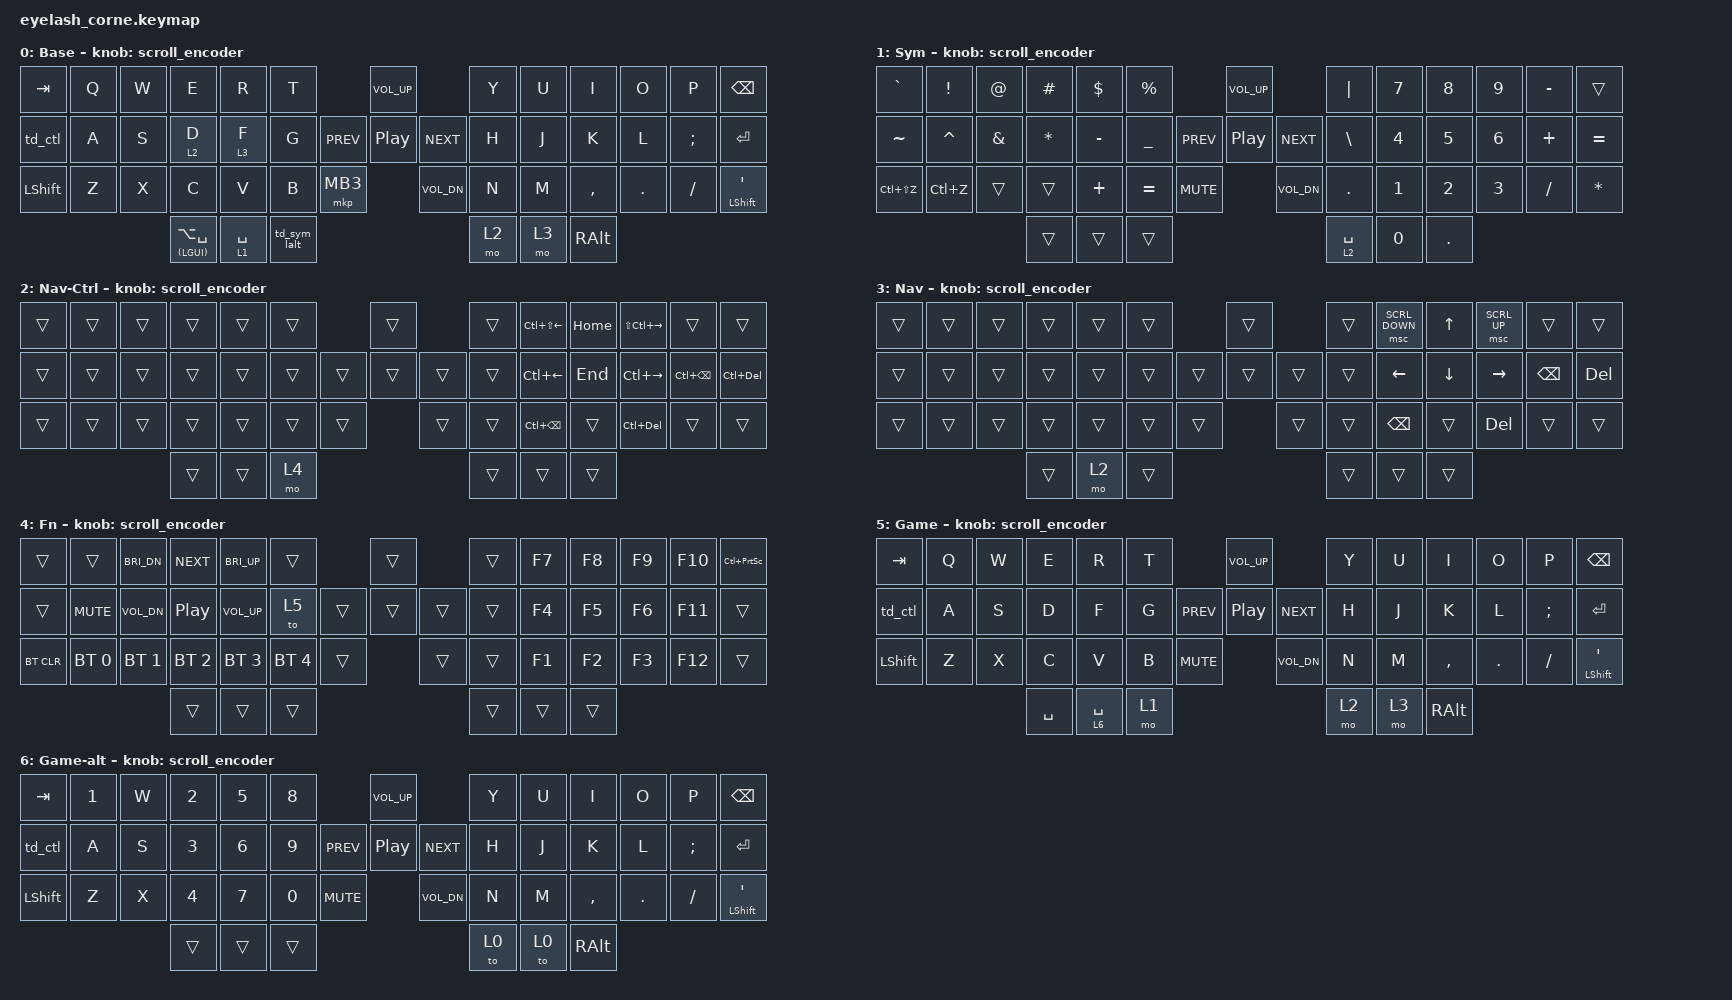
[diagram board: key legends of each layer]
#define ZMK_POINTING_DEFAULT_MOVE_VAL 1200  // 600
#define ZMK_POINTING_DEFAULT_SCRL_VAL 50   // 10

#include <input/processors.dtsi>
#include <zephyr/dt-bindings/input/input-event-codes.h>
#include <behaviors.dtsi>
#include <dt-bindings/zmk/bt.h>
#include <dt-bindings/zmk/keys.h>
#include <dt-bindings/zmk/pointing.h>
#include <dt-bindings/zmk/rgb.h>

// Macros
// #define MO_TOG(layer) &mo_tog layer layer // macro to trigger mo-tog on the same layer
// Global params

&mmv_input_listener { input-processors = <&zip_xy_scaler 2 1>; };

&msc_input_listener { input-processors = <&zip_scroll_scaler 2 1>; };

&msc {
    acceleration-exponent = <1>;      // 0
    time-to-max-speed-ms = <100>;       // 300
    delay-ms = <0>;                   // 0
};

&mmv {
    time-to-max-speed-ms = <500>;
    acceleration-exponent = <1>;
    trigger-period-ms = <16>;
};

&soft_off { hold-time-ms = <2000>; };

/ {
    // ---------- Hardware config ----------

    rgb_encoder: rgb_encoder {
        compatible = "zmk,behavior-sensor-rotate";
        #sensor-binding-cells = <0>;
        bindings = <&rgb_ug RGB_BRI>, <&rgb_ug RGB_BRD>;
    };

    scroll_encoder: scroll_encoder {
        compatible = "zmk,behavior-sensor-rotate";
        #sensor-binding-cells = <0>;
        bindings = <&msc SCRL_DOWN>, <&msc SCRL_UP>;

        /* tap-ms = <100>; */
    };

    scroll_encoder_lr: scroll_encoder_lr {
        compatible = "zmk,behavior-sensor-rotate";
        #sensor-binding-cells = <0>;
        bindings = <&msc SCRL_LEFT>, <&msc SCRL_RIGHT>;
    };

    combos {
        compatible = "zmk,combos";

        softoff {
            bindings = <&soft_off>;
            key-positions = <1 15 29>;
        };

        esc_jk {
            bindings = <&kp ESC>;
            key-positions = <23 24>;
            layers = <0>;
            timeout-ms = <200>;
        };

        win_close {
            bindings = <&kp LA(F4)>;
            key-positions = <2 42>;
            layers = <0>;
            timeout-ms = <200>;
        };

        // symbols

        lbkt {
            bindings = <&kp LBKT>;
            key-positions = <4 3>;
            layers = <1>;
            timeout-ms = <200>;
        };

        rbkt {
            bindings = <&kp RBKT>;
            key-positions = <8 9>;
            layers = <1>;
            timeout-ms = <200>;
        };

        lpar {
            bindings = <&kp LPAR>;
            key-positions = <17 16>;
            layers = <1>;
            timeout-ms = <200>;
        };

        rpar {
            bindings = <&kp RPAR>;
            key-positions = <23 24>;
            layers = <1>;
            timeout-ms = <200>;
        };

        lbrc {
            bindings = <&kp LBRC>;
            key-positions = <32 31>;
            layers = <1>;
            timeout-ms = <200>;
        };

        rbrc {
            bindings = <&kp RBRC>;
            key-positions = <37 38>;
            layers = <1>;
            timeout-ms = <200>;
        };

        backslash {
            bindings = <&kp BACKSLASH>;
            key-positions = <39 40>;
            layers = <1>;
            timeout-ms = <200>;
        };

        pipe {
            bindings = <&kp PIPE>;
            key-positions = <40 41>;
            layers = <1>;
            timeout-ms = <200>;
        };
    };

    // --------- Behaviors ---------

    behaviors {
        mo_tog: behavior_mo_tog {
            compatible = "zmk,behavior-hold-tap";
            display-name = "layer mo-tog";
            #binding-cells = <2>;
            flavor = "hold-preferred";
            tapping-term-ms = <200>;
            bindings = <&mo>, <&tog>;
        };

        td_ctl: td_ctl {
            compatible = "zmk,behavior-tap-dance";
            display-name = "CTRL/ESC tap dance";
            #binding-cells = <0>;
            bindings = <&kp LCTRL>, <&kp ESC>;
        };

        scroll: scroll {
            compatible = "zmk,behavior-sensor-rotate";
            label = "Vertical scroll";
            #sensor-binding-cells = <0>;
            bindings = <&msc SCRL_UP>, <&msc SCRL_DOWN>;
        };

        scroll_lr: scroll_lr {
            compatible = "zmk,behavior-sensor-rotate";
            label = "Horizontal scroll";
            #sensor-binding-cells = <0>;
            bindings = <&msc SCRL_RIGHT>, <&msc SCRL_LEFT>;
        };

        td_sym_lalt: td_sym_lalt {
            compatible = "zmk,behavior-tap-dance";
            label = "Tap dance layer 1 and LALT";
            #binding-cells = <0>;
            bindings = <&mo 4>, <&kp LALT>;
        };
    };

    // ---------- Keymap ----------

    keymap {
        compatible = "zmk,keymap";

        default_layer {
            display-name = "Base";
            bindings = <
&kp TAB    &kp Q  &kp W  &kp E                 &kp R        &kp T                                 &kp C_VOL_UP                  &kp Y  &kp U  &kp I      &kp O    &kp P     &kp BSPC
&td_ctl    &kp A  &kp S  &lt 2 D               &lt 3 F      &kp G                     &kp C_PREV  &kp C_PLAY_PAUSE  &kp C_NEXT  &kp H  &kp J  &kp K      &kp L    &kp SEMI  &kp ENTER
&kp LSHFT  &kp Z  &kp X  &kp C                 &kp V        &kp B         &mkp MB3                &kp C_VOL_DN                  &kp N  &kp M  &kp COMMA  &kp DOT  &kp FSLH  &mt LSHFT SQT
                         &mt (LGUI) LA(SPACE)  &lt 1 SPACE  &td_sym_lalt                                                        &mo 2  &mo 3  &kp RALT
            >;

            sensor-bindings = <&scroll_encoder>;
        };

        layer_1 {
            display-name = "Sym";
            bindings = <
&kp GRAVE      &kp EXCL   &kp AT    &kp HASH   &kp DLLR   &kp PRCNT                            &kp C_VOL_UP              &kp PIPE       &kp N7  &kp N8   &kp N9  &kp MINUS  &trans
&kp TILDE      &kp CARET  &kp AMPS  &kp ASTRK  &kp MINUS  &kp UNDER                &kp C_PREV  &kp C_PP      &kp C_NEXT  &kp BACKSLASH  &kp N4  &kp N5   &kp N6  &kp PLUS   &kp EQUAL
&kp LC(LS(Z))  &kp LC(Z)  &trans    &trans     &kp PLUS   &kp EQUAL  &kp C_MUTE                &kp C_VOL_DN              &kp DOT        &kp N1  &kp N2   &kp N3  &kp SLASH  &kp ASTRK
                                    &trans     &trans     &trans                                                         &lt 2 SPACE    &kp N0  &kp DOT
            >;

            sensor-bindings = <&scroll_encoder>;
        };

        layer_2 {
            display-name = "Nav-Ctrl";
            bindings = <
&trans  &trans  &trans  &trans  &trans  &trans                    &trans          &trans  &kp LC(LS(LEFT))   &kp HOME  &kp LS(LC(RIGHT))  &trans        &trans
&trans  &trans  &trans  &trans  &trans  &trans            &trans  &trans  &trans  &trans  &kp LC(LEFT)       &kp END   &kp LC(RIGHT)      &kp LC(BSPC)  &kp LC(DEL)
&trans  &trans  &trans  &trans  &trans  &trans  &trans            &trans          &trans  &kp LC(BACKSPACE)  &trans    &kp LC(DEL)        &trans        &trans
                        &trans  &trans  &mo 4                                     &trans  &trans             &trans
            >;

            sensor-bindings = <&scroll_encoder>;
        };

        layer_3 {
            display-name = "Nav";
            bindings = <
&trans  &trans  &trans  &trans  &trans  &trans                    &trans          &trans  &msc SCRL_DOWN  &kp UP    &msc SCRL_UP  &trans    &trans
&trans  &trans  &trans  &trans  &trans  &trans            &trans  &trans  &trans  &trans  &kp LEFT        &kp DOWN  &kp RIGHT     &kp BSPC  &kp DEL
&trans  &trans  &trans  &trans  &trans  &trans  &trans            &trans          &trans  &kp BACKSPACE   &trans    &kp DEL       &trans    &trans
                        &trans  &mo 2   &trans                                    &trans  &trans          &trans
            >;

            sensor-bindings = <&scroll_encoder>;
        };

        layer_4 {
            display-name = "Fn";
            bindings = <
&trans      &trans        &kp C_BRI_DN  &kp C_NEXT    &kp C_BRI_UP  &trans                          &trans          &trans  &kp F7  &kp F8  &kp F9  &kp F10  &kp LC(PRINTSCREEN)
&trans      &kp C_MUTE    &kp C_VOL_DN  &kp C_PP      &kp C_VOL_UP  &to 5                   &trans  &trans  &trans  &trans  &kp F4  &kp F5  &kp F6  &kp F11  &trans
&bt BT_CLR  &bt BT_SEL 0  &bt BT_SEL 1  &bt BT_SEL 2  &bt BT_SEL 3  &bt BT_SEL 4  &trans            &trans          &trans  &kp F1  &kp F2  &kp F3  &kp F12  &trans
                                        &trans        &trans        &trans                                          &trans  &trans  &trans
            >;

            sensor-bindings = <&scroll_encoder>;
        };

        layer_5 {
            display-name = "Game";
            bindings = <
&kp TAB    &kp Q  &kp W  &kp E      &kp R        &kp T                            &kp C_VOL_UP              &kp Y  &kp U  &kp I      &kp O    &kp P     &kp BSPC
&td_ctl    &kp A  &kp S  &kp D      &kp F        &kp G                &kp C_PREV  &kp C_PP      &kp C_NEXT  &kp H  &kp J  &kp K      &kp L    &kp SEMI  &kp ENTER
&kp LSHFT  &kp Z  &kp X  &kp C      &kp V        &kp B  &kp C_MUTE                &kp C_VOL_DN              &kp N  &kp M  &kp COMMA  &kp DOT  &kp FSLH  &mt LSHFT SQT
                         &kp SPACE  &lt 6 SPACE  &mo 1                                                      &mo 2  &mo 3  &kp RALT
            >;

            sensor-bindings = <&scroll_encoder>;
        };

        layer_6 {
            display-name = "Game-alt";
            bindings = <
&kp TAB    &kp N1  &kp W  &kp N2  &kp N5  &kp N8                            &kp C_VOL_UP              &kp Y  &kp U  &kp I      &kp O    &kp P     &kp BSPC
&td_ctl    &kp A   &kp S  &kp N3  &kp N6  &kp N9                &kp C_PREV  &kp C_PP      &kp C_NEXT  &kp H  &kp J  &kp K      &kp L    &kp SEMI  &kp ENTER
&kp LSHFT  &kp Z   &kp X  &kp N4  &kp N7  &kp N0  &kp C_MUTE                &kp C_VOL_DN              &kp N  &kp M  &kp COMMA  &kp DOT  &kp FSLH  &mt LSHFT SQT
                          &trans  &trans  &trans                                                      &to 0  &to 0  &kp RALT
            >;

            sensor-bindings = <&scroll_encoder>;
        };
    };
};
